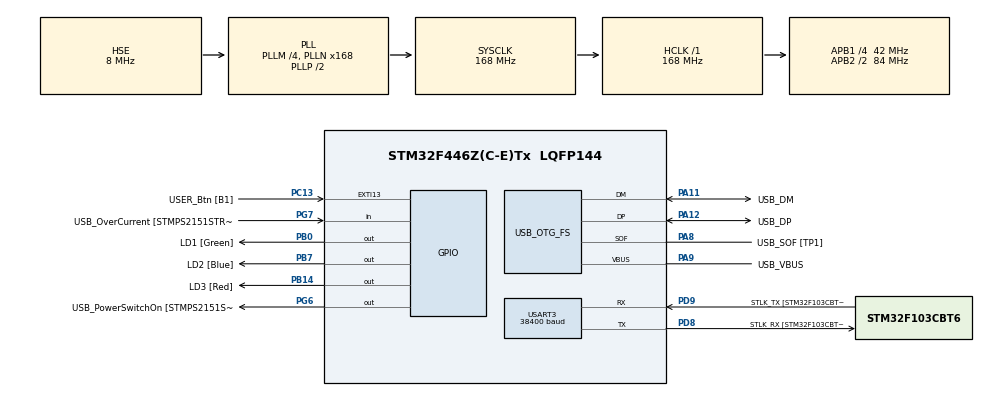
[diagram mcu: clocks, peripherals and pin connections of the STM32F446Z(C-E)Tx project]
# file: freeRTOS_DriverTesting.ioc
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FREERTOS.Tasks01=defaultTask,24,128,StartDefaultTask,Default,NULL,Dynamic,NULL,NULL;myTask02,8,128,StartTask02,Default,NULL,Dynamic,NULL,NULL
FREERTOS.configUSE_NEWLIB_REENTRANT=1
Mcu.Family=STM32F4
Mcu.Name=STM32F446Z(C-E)Tx
Mcu.Package=LQFP144
NVIC.PriorityGroup=NVIC_PRIORITYGROUP_4
NVIC.RTC_Alarm_IRQn=true\:5\:0\:false\:false\:true\:true\:true\:true
NVIC.TIM6_DAC_IRQn=true\:15\:0\:false\:false\:true\:false\:false\:true
NVIC.TimeBase=TIM6_DAC_IRQn
NVIC.TimeBaseIP=TIM6
PA10.GPIO_Label=USB_ID
PA10.Signal=USB_OTG_FS_ID
PA11.GPIO_Label=USB_DM
PA11.Mode=Device_Only
PA11.Signal=USB_OTG_FS_DM
PA12.GPIO_Label=USB_DP
PA12.Mode=Device_Only
PA12.Signal=USB_OTG_FS_DP
PA13.GPIO_Label=TMS
PA13.Mode=Serial_Wire
PA13.Signal=SYS_JTMS-SWDIO
PA14.GPIO_Label=TCK
PA14.Mode=Serial_Wire
PA14.Signal=SYS_JTCK-SWCLK
PA8.GPIO_Label=USB_SOF [TP1]
PA8.Mode=Activate_SOF_FS
PA8.Signal=USB_OTG_FS_SOF
PA9.GPIO_Label=USB_VBUS
PA9.Mode=Activate_VBUS
PA9.Signal=USB_OTG_FS_VBUS
PB0.GPIO_Label=LD1 [Green]
PB0.Signal=GPIO_Output
PB14.GPIO_Label=LD3 [Red]
PB14.Signal=GPIO_Output
PB7.GPIO_Label=LD2 [Blue]
PB7.Signal=GPIO_Output
PC13.GPIO_Label=USER_Btn [B1]
PC13.Signal=GPXTI13
PC14-OSC32_IN.Mode=LSE-External-Oscillator
PC14-OSC32_IN.Signal=RCC_OSC32_IN
PC15-OSC32_OUT.Mode=LSE-External-Oscillator
PC15-OSC32_OUT.Signal=RCC_OSC32_OUT
PD8.GPIO_Label=STLK_RX [STM32F103CBT6_PA3]
PD8.Mode=Asynchronous
PD8.Signal=USART3_TX
PD9.GPIO_Label=STLK_TX [STM32F103CBT6_PA2]
PD9.Mode=Asynchronous
PD9.Signal=USART3_RX
PG6.GPIO_Label=USB_PowerSwitchOn [STMPS2151STR_EN]
PG6.Signal=GPIO_Output
PG7.GPIO_Label=USB_OverCurrent [STMPS2151STR_FAULT]
PG7.Signal=GPIO_Input
PH0-OSC_IN.GPIO_Label=MCO [STM32F103CBT6_PA8]
PH0-OSC_IN.Mode=HSE-External-Clock-Source
PH0-OSC_IN.Signal=RCC_OSC_IN
PH1-OSC_OUT.Mode=HSE-External-Clock-Source
PH1-OSC_OUT.Signal=RCC_OSC_OUT
ProjectManager.HeapSize=0x200
ProjectManager.StackSize=0x400
ProjectManager.TargetToolchain=STM32CubeIDE
RCC.48MHZClocksFreq_Value=24000000
RCC.AHBFreq_Value=168000000
RCC.APB1CLKDivider=RCC_HCLK_DIV4
RCC.APB1Freq_Value=42000000
RCC.APB1TimFreq_Value=84000000
RCC.APB2CLKDivider=RCC_HCLK_DIV2
RCC.APB2Freq_Value=84000000
RCC.APB2TimFreq_Value=168000000
RCC.CortexFreq_Value=168000000
RCC.HCLKFreq_Value=168000000
RCC.HSE_VALUE=8000000
RCC.HSI_VALUE=16000000
RCC.PLLM=4
RCC.PLLMUL=RCC_PLL_MUL9
RCC.PLLN=168
RCC.PLLQ=7
RCC.PRESCALERUSB=RCC_USBCLKSOURCE_PLL_DIV1_5
RCC.RCC_RTC_Clock_SourceVirtual=RCC_RTCCLKSOURCE_LSE
RCC.SYSCLKFreq_VALUE=168000000
RCC.SYSCLKSource=RCC_SYSCLKSOURCE_PLLCLK
RCC.SYSCLKSourceVirtual=RCC_SYSCLKSOURCE_PLLCLK
RCC.USBFreq_Value=48000000
RCC.VCOOutputFreq_Value=336000000
RTC.Alarm=RTC_ALARM_A
USART3.BaudRate=38400
USART3.VirtualMode=VM_ASYNC
USB_OTG_FS.VirtualMode=Device_Only
VP_FREERTOS_VS_CMSIS_V2.Mode=CMSIS_V2
VP_RTC_VS_RTC_Activate.Mode=RTC_Enabled
VP_RTC_VS_RTC_Alarm_A_Intern.Mode=Alarm A
VP_RTC_VS_RTC_Calendar.Mode=RTC_Calendar
VP_SYS_VS_tim6.Mode=TIM6
board=NUCLEO-F446ZE

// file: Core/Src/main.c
/* USER CODE BEGIN Header */
/**
  ******************************************************************************
  * @file           : main.c
  * @brief          : Main program body
  ******************************************************************************
  * @attention
  *
  * <h2><center>&copy; Copyright (c) 2022 STMicroelectronics.
  * All rights reserved.</center></h2>
  *
  * This software component is licensed by ST under BSD 3-Clause license,
  * the "License"; You may not use this file except in compliance with the
  * License. You may obtain a copy of the License at:
  *                        opensource.org/licenses/BSD-3-Clause
  *
  ******************************************************************************
  */
/* USER CODE END Header */
#include "main.h"
#include "cmsis_os.h"

/* USER CODE BEGIN Includes */
#include <MRT_RTOS.h>

/* USER CODE END Includes */

/* USER CODE BEGIN PD */

//#define print(s) HAL_UART_Transmit(&huart3,s, strlen(s), HAL_MAX_DELAY);

//INCLUDE_vTaskSuspend must be set to 1

/* USER CODE END PD */

RTC_HandleTypeDef hrtc;

UART_HandleTypeDef huart3;

PCD_HandleTypeDef hpcd_USB_OTG_FS;

/* Definitions for defaultTask */
osThreadId_t defaultTaskHandle;
const osThreadAttr_t defaultTask_attributes = {
  .name = "defaultTask",
  .stack_size = 128 * 4,
  .priority = (osPriority_t) osPriorityNormal,
};
/* Definitions for myTask02 */
osThreadId_t myTask02Handle;
const osThreadAttr_t myTask02_attributes = {
  .name = "myTask02",
  .stack_size = 128 * 4,
  .priority = (osPriority_t) osPriorityLow,
};
/* USER CODE BEGIN PV */

osThreadId_t threadID[10];

/* USER CODE END PV */

void SystemClock_Config(void);
static void MX_GPIO_Init(void);
static void MX_USART3_UART_Init(void);
static void MX_USB_OTG_FS_PCD_Init(void);
static void MX_RTC_Init(void);
void StartDefaultTask(void *argument);
void StartTask02(void *argument);

/* USER CODE BEGIN PFP */

/*
 * TODO Modify these as you wish in MRT_RTOS.c (let them commented out)
 */
//void HAL_RTC_AlarmAEventCallback(RTC_HandleTypeDef *hrtc)
//void HAL_RTC_AlarmBEventCallback(RTC_HandleTypeDef *hrtc)
//void HAL_RTCEx_WakeUpTimerEventCallback(RTC_HandleTypeDef *hrtc)

/* USER CODE END PFP */

int main(void)
{

  /* MCU Configuration--------------------------------------------------------*/

  /* Reset of all peripherals, Initializes the Flash interface and the Systick. */
  HAL_Init();

  /* Configure the system clock */
  SystemClock_Config();

  /* Initialize all configured peripherals */
  MX_GPIO_Init();
  MX_USART3_UART_Init();
  MX_USB_OTG_FS_PCD_Init();
  MX_RTC_Init();
  /* USER CODE BEGIN 2 */

  //With default alarm A
  MRT_SetupRTOS(huart3,1); //TODO will override set .ioc values if left to 1

  //With custim alarm
  //MRT_SetupRTOS(huart3,0);
  //MRT_CustomRTC(int values[]); //TODO or simply configure in .ioc

  /* USER CODE END 2 */

  /* Init scheduler */
  osKernelInitialize();

  /* Create the thread(s) */
  /* creation of defaultTask */
  defaultTaskHandle = osThreadNew(StartDefaultTask, NULL, &defaultTask_attributes);

  /* creation of myTask02 */
  myTask02Handle = osThreadNew(StartTask02, NULL, &myTask02_attributes);

  /* Start scheduler */
  osKernelStart();

  /* We should never get here as control is now taken by the scheduler */
  /* Infinite loop */
  /* USER CODE BEGIN WHILE */
  while (1)
  {

	  /*
	   * Nothing is going to get executed
	   * at this point since the freeRTOS
	   * takes control when osKernelStart is called
	   */

	  HAL_UART_Transmit(&huart3,(uint8_t*)"Main while loop\r\n", 17, HAL_MAX_DELAY);

    /* USER CODE END WHILE */

  }
}

void SystemClock_Config(void)
{
  RCC_OscInitTypeDef RCC_OscInitStruct = {0};
  RCC_ClkInitTypeDef RCC_ClkInitStruct = {0};

  /** Configure the main internal regulator output voltage
  */
  __HAL_RCC_PWR_CLK_ENABLE();
  __HAL_PWR_VOLTAGESCALING_CONFIG(PWR_REGULATOR_VOLTAGE_SCALE1);
  /** Initializes the RCC Oscillators according to the specified parameters
  * in the RCC_OscInitTypeDef structure.
  */
  RCC_OscInitStruct.OscillatorType = RCC_OSCILLATORTYPE_HSE|RCC_OSCILLATORTYPE_LSE;
  RCC_OscInitStruct.HSEState = RCC_HSE_BYPASS;
  RCC_OscInitStruct.LSEState = RCC_LSE_ON;
  RCC_OscInitStruct.PLL.PLLState = RCC_PLL_ON;
  RCC_OscInitStruct.PLL.PLLSource = RCC_PLLSOURCE_HSE;
  RCC_OscInitStruct.PLL.PLLM = 4;
  RCC_OscInitStruct.PLL.PLLN = 168;
  RCC_OscInitStruct.PLL.PLLP = RCC_PLLP_DIV2;
  RCC_OscInitStruct.PLL.PLLQ = 7;
  RCC_OscInitStruct.PLL.PLLR = 2;
  if (HAL_RCC_OscConfig(&RCC_OscInitStruct) != HAL_OK)
  {
    Error_Handler();
  }
  /** Initializes the CPU, AHB and APB buses clocks
  */
  RCC_ClkInitStruct.ClockType = RCC_CLOCKTYPE_HCLK|RCC_CLOCKTYPE_SYSCLK
                              |RCC_CLOCKTYPE_PCLK1|RCC_CLOCKTYPE_PCLK2;
  RCC_ClkInitStruct.SYSCLKSource = RCC_SYSCLKSOURCE_PLLCLK;
  RCC_ClkInitStruct.AHBCLKDivider = RCC_SYSCLK_DIV1;
  RCC_ClkInitStruct.APB1CLKDivider = RCC_HCLK_DIV4;
  RCC_ClkInitStruct.APB2CLKDivider = RCC_HCLK_DIV2;

  if (HAL_RCC_ClockConfig(&RCC_ClkInitStruct, FLASH_LATENCY_5) != HAL_OK)
  {
    Error_Handler();
  }
}

static void MX_RTC_Init(void)
{

  RTC_TimeTypeDef sTime = {0};
  RTC_DateTypeDef sDate = {0};
  RTC_AlarmTypeDef sAlarm = {0};

  /** Initialize RTC Only
  */
  hrtc.Instance = RTC;
  hrtc.Init.HourFormat = RTC_HOURFORMAT_24;
  hrtc.Init.AsynchPrediv = 127;
  hrtc.Init.SynchPrediv = 255;
  hrtc.Init.OutPut = RTC_OUTPUT_DISABLE;
  hrtc.Init.OutPutPolarity = RTC_OUTPUT_POLARITY_HIGH;
  hrtc.Init.OutPutType = RTC_OUTPUT_TYPE_OPENDRAIN;
  if (HAL_RTC_Init(&hrtc) != HAL_OK)
  {
    Error_Handler();
  }

  /** Initialize RTC and set the Time and Date
  */
  sTime.Hours = 0x0;
  sTime.Minutes = 0x0;
  sTime.Seconds = 0x0;
  sTime.DayLightSaving = RTC_DAYLIGHTSAVING_NONE;
  sTime.StoreOperation = RTC_STOREOPERATION_RESET;
  if (HAL_RTC_SetTime(&hrtc, &sTime, RTC_FORMAT_BCD) != HAL_OK)
  {
    Error_Handler();
  }
  sDate.WeekDay = RTC_WEEKDAY_MONDAY;
  sDate.Month = RTC_MONTH_JANUARY;
  sDate.Date = 0x1;
  sDate.Year = 0x0;

  if (HAL_RTC_SetDate(&hrtc, &sDate, RTC_FORMAT_BCD) != HAL_OK)
  {
    Error_Handler();
  }
  /** Enable the Alarm A
  */
  sAlarm.AlarmTime.Hours = 0x0;
  sAlarm.AlarmTime.Minutes = 0x0;
  sAlarm.AlarmTime.Seconds = 0x20;
  sAlarm.AlarmTime.SubSeconds = 0x0;
  sAlarm.AlarmTime.DayLightSaving = RTC_DAYLIGHTSAVING_NONE;
  sAlarm.AlarmTime.StoreOperation = RTC_STOREOPERATION_RESET;
  sAlarm.AlarmMask = RTC_ALARMMASK_NONE;
  sAlarm.AlarmSubSecondMask = RTC_ALARMSUBSECONDMASK_ALL;
  sAlarm.AlarmDateWeekDaySel = RTC_ALARMDATEWEEKDAYSEL_DATE;
  sAlarm.AlarmDateWeekDay = 0x1;
  sAlarm.Alarm = RTC_ALARM_A;
  if (HAL_RTC_SetAlarm_IT(&hrtc, &sAlarm, RTC_FORMAT_BCD) != HAL_OK)
  {
    Error_Handler();
  }

}

static void MX_USART3_UART_Init(void)
{

  huart3.Instance = USART3;
  huart3.Init.BaudRate = 38400;
  huart3.Init.WordLength = UART_WORDLENGTH_8B;
  huart3.Init.StopBits = UART_STOPBITS_1;
  huart3.Init.Parity = UART_PARITY_NONE;
  huart3.Init.Mode = UART_MODE_TX_RX;
  huart3.Init.HwFlowCtl = UART_HWCONTROL_NONE;
  huart3.Init.OverSampling = UART_OVERSAMPLING_16;
  if (HAL_UART_Init(&huart3) != HAL_OK)
  {
    Error_Handler();
  }

}

static void MX_USB_OTG_FS_PCD_Init(void)
{

  hpcd_USB_OTG_FS.Instance = USB_OTG_FS;
  hpcd_USB_OTG_FS.Init.dev_endpoints = 6;
  hpcd_USB_OTG_FS.Init.speed = PCD_SPEED_FULL;
  hpcd_USB_OTG_FS.Init.dma_enable = DISABLE;
  hpcd_USB_OTG_FS.Init.phy_itface = PCD_PHY_EMBEDDED;
  hpcd_USB_OTG_FS.Init.Sof_enable = ENABLE;
  hpcd_USB_OTG_FS.Init.low_power_enable = DISABLE;
  hpcd_USB_OTG_FS.Init.lpm_enable = DISABLE;
  hpcd_USB_OTG_FS.Init.vbus_sensing_enable = ENABLE;
  hpcd_USB_OTG_FS.Init.use_dedicated_ep1 = DISABLE;
  if (HAL_PCD_Init(&hpcd_USB_OTG_FS) != HAL_OK)
  {
    Error_Handler();
  }

}

static void MX_GPIO_Init(void)
{
  GPIO_InitTypeDef GPIO_InitStruct = {0};

  /* GPIO Ports Clock Enable */
  __HAL_RCC_GPIOC_CLK_ENABLE();
  __HAL_RCC_GPIOH_CLK_ENABLE();
  __HAL_RCC_GPIOB_CLK_ENABLE();
  __HAL_RCC_GPIOD_CLK_ENABLE();
  __HAL_RCC_GPIOG_CLK_ENABLE();
  __HAL_RCC_GPIOA_CLK_ENABLE();

  /*Configure GPIO pin Output Level */
  HAL_GPIO_WritePin(GPIOB, LD1_Pin|LD3_Pin|LD2_Pin, GPIO_PIN_RESET);

  /*Configure GPIO pin Output Level */
  HAL_GPIO_WritePin(USB_PowerSwitchOn_GPIO_Port, USB_PowerSwitchOn_Pin, GPIO_PIN_RESET);

  /*Configure GPIO pin : USER_Btn_Pin */
  GPIO_InitStruct.Pin = USER_Btn_Pin;
  GPIO_InitStruct.Mode = GPIO_MODE_IT_RISING;
  GPIO_InitStruct.Pull = GPIO_NOPULL;
  HAL_GPIO_Init(USER_Btn_GPIO_Port, &GPIO_InitStruct);

  /*Configure GPIO pins : LD1_Pin LD3_Pin LD2_Pin */
  GPIO_InitStruct.Pin = LD1_Pin|LD3_Pin|LD2_Pin;
  GPIO_InitStruct.Mode = GPIO_MODE_OUTPUT_PP;
  GPIO_InitStruct.Pull = GPIO_NOPULL;
  GPIO_InitStruct.Speed = GPIO_SPEED_FREQ_LOW;
  HAL_GPIO_Init(GPIOB, &GPIO_InitStruct);

  /*Configure GPIO pin : USB_PowerSwitchOn_Pin */
  GPIO_InitStruct.Pin = USB_PowerSwitchOn_Pin;
  GPIO_InitStruct.Mode = GPIO_MODE_OUTPUT_PP;
  GPIO_InitStruct.Pull = GPIO_NOPULL;
  GPIO_InitStruct.Speed = GPIO_SPEED_FREQ_LOW;
  HAL_GPIO_Init(USB_PowerSwitchOn_GPIO_Port, &GPIO_InitStruct);

  /*Configure GPIO pin : USB_OverCurrent_Pin */
  GPIO_InitStruct.Pin = USB_OverCurrent_Pin;
  GPIO_InitStruct.Mode = GPIO_MODE_INPUT;
  GPIO_InitStruct.Pull = GPIO_NOPULL;
  HAL_GPIO_Init(USB_OverCurrent_GPIO_Port, &GPIO_InitStruct);

}

void StartDefaultTask(void *argument)
{
  /* USER CODE BEGIN 5 */

	//Add thread id to the list
	threadID[1]=osThreadGetId();

  /* Infinite loop */
  for(;;)
  {
	HAL_GPIO_TogglePin(LD1_GPIO_Port,LD1_Pin);
    osDelay(300);
  }

  //In case it leaves the infinite loop
    osThreadTerminate(NULL);

  /* USER CODE END 5 */
}

void StartTask02(void *argument)
{
  /* USER CODE BEGIN StartTask02 */
  /* Infinite loop */
	//Add thread id to the list
	threadID[0]=osThreadGetId();

	HAL_UART_Transmit(&huart3,"Start alarm polling\r\n",21,HAL_MAX_DELAY);

	char msg[10];
  /* Infinite loop */
  for(;;)
  {
	sprintf(msg,"FlagA: %u, FlagB: %u\r\n",flagA,flagB);
	HAL_UART_Transmit(&huart3,(uint8_t*)msg, strlen(msg), HAL_MAX_DELAY);

	if (flagA==1){
		HAL_UART_Transmit(&huart3,(uint8_t*)"FlagA==1\r\n", 10, HAL_MAX_DELAY);
		flagA=0;
	}

	if (flagB==1){
		HAL_UART_Transmit(&huart3,(uint8_t*)"FlagB==1\r\n", 10, HAL_MAX_DELAY);
		flagB=0;
	}
    osDelay(1000);
  }
  /* USER CODE END StartTask02 */
}

void HAL_TIM_PeriodElapsedCallback(TIM_HandleTypeDef *htim)
{
  if (htim->Instance == TIM6) {
    HAL_IncTick();
  }
}

void Error_Handler(void)
{
  __disable_irq();
  while (1)
  {
  }
}

/************************ (C) COPYRIGHT STMicroelectronics *****END OF FILE****/
